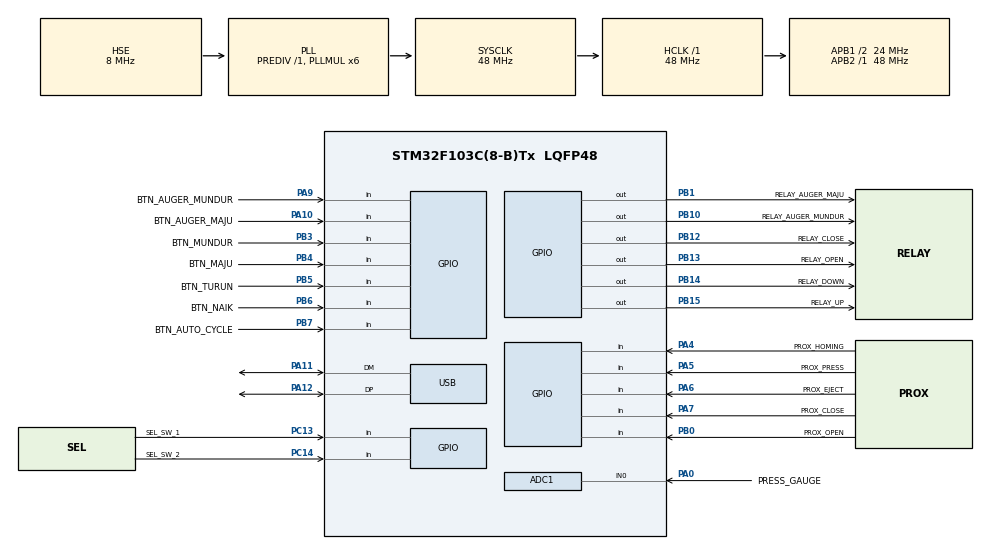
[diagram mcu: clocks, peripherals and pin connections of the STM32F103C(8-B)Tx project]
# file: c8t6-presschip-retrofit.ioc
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ADC1.Channel-0\#ChannelRegularConversion=ADC_CHANNEL_0
ADC1.ContinuousConvMode=ENABLE
ADC1.NbrOfConversion=1
ADC1.NbrOfConversionFlag=1
ADC1.Rank-0\#ChannelRegularConversion=1
ADC1.SamplingTime-0\#ChannelRegularConversion=ADC_SAMPLETIME_28CYCLES_5
ADC1.master=1
Dma.ADC1.0.Direction=DMA_PERIPH_TO_MEMORY
Dma.ADC1.0.Instance=DMA1_Channel1
Dma.ADC1.0.MemDataAlignment=DMA_MDATAALIGN_HALFWORD
Dma.ADC1.0.MemInc=DMA_MINC_ENABLE
Dma.ADC1.0.Mode=DMA_CIRCULAR
Dma.ADC1.0.PeriphDataAlignment=DMA_PDATAALIGN_HALFWORD
Dma.ADC1.0.PeriphInc=DMA_PINC_DISABLE
Dma.ADC1.0.Priority=DMA_PRIORITY_LOW
Dma.Request0=ADC1
Mcu.Family=STM32F1
Mcu.Name=STM32F103C(8-B)Tx
Mcu.Package=LQFP48
NVIC.DMA1_Channel1_IRQn=true\:0\:0\:false\:false\:true\:false\:true\:true
NVIC.PriorityGroup=NVIC_PRIORITYGROUP_4
NVIC.USB_LP_CAN1_RX0_IRQn=true\:0\:0\:false\:false\:true\:true\:true\:true
PA0-WKUP.GPIO_Label=PRESS_GAUGE
PA0-WKUP.Signal=ADCx_IN0
PA10.GPIO_Label=BTN_AUGER_MAJU
PA10.GPIO_PuPd=GPIO_PULLUP
PA10.Signal=GPIO_Input
PA11.Mode=Device
PA11.Signal=USB_DM
PA12.Mode=Device
PA12.Signal=USB_DP
PA13.Mode=Serial_Wire
PA13.Signal=SYS_JTMS-SWDIO
PA14.Mode=Serial_Wire
PA14.Signal=SYS_JTCK-SWCLK
PA4.GPIO_Label=PROX_HOMING
PA4.GPIO_PuPd=GPIO_PULLUP
PA4.Signal=GPIO_Input
PA5.GPIO_Label=PROX_PRESS
PA5.GPIO_PuPd=GPIO_PULLUP
PA5.Signal=GPIO_Input
PA6.GPIO_Label=PROX_EJECT
PA6.GPIO_PuPd=GPIO_PULLUP
PA6.Signal=GPIO_Input
PA7.GPIO_Label=PROX_CLOSE
PA7.GPIO_PuPd=GPIO_PULLUP
PA7.Signal=GPIO_Input
PA9.GPIO_Label=BTN_AUGER_MUNDUR
PA9.GPIO_PuPd=GPIO_PULLUP
PA9.Signal=GPIO_Input
PB0.GPIO_Label=PROX_OPEN
PB0.GPIO_PuPd=GPIO_PULLUP
PB0.Signal=GPIO_Input
PB1.GPIO_Label=RELAY_AUGER_MAJU
PB1.Signal=GPIO_Output
PB10.GPIO_Label=RELAY_AUGER_MUNDUR
PB10.Signal=GPIO_Output
PB12.GPIO_Label=RELAY_CLOSE
PB12.GPIO_PuPd=GPIO_PULLDOWN
PB12.Signal=GPIO_Output
PB13.GPIO_Label=RELAY_OPEN
PB13.GPIO_PuPd=GPIO_PULLDOWN
PB13.Signal=GPIO_Output
PB14.GPIO_Label=RELAY_DOWN
PB14.GPIO_PuPd=GPIO_PULLDOWN
PB14.Signal=GPIO_Output
PB15.GPIO_Label=RELAY_UP
PB15.GPIO_PuPd=GPIO_PULLDOWN
PB15.Signal=GPIO_Output
PB3.GPIO_Label=BTN_MUNDUR
PB3.GPIO_PuPd=GPIO_PULLUP
PB3.Signal=GPIO_Input
PB4.GPIO_Label=BTN_MAJU
PB4.GPIO_PuPd=GPIO_PULLUP
PB4.Signal=GPIO_Input
PB5.GPIO_Label=BTN_TURUN
PB5.GPIO_PuPd=GPIO_PULLUP
PB5.Signal=GPIO_Input
PB6.GPIO_Label=BTN_NAIK
PB6.GPIO_PuPd=GPIO_PULLUP
PB6.Signal=GPIO_Input
PB7.GPIO_Label=BTN_AUTO_CYCLE
PB7.GPIO_PuPd=GPIO_PULLUP
PB7.Signal=GPIO_Input
PC13-TAMPER-RTC.GPIO_Label=SEL_SW_1
PC13-TAMPER-RTC.GPIO_PuPd=GPIO_PULLUP
PC13-TAMPER-RTC.Signal=GPIO_Input
PC14-OSC32_IN.GPIO_Label=SEL_SW_2
PC14-OSC32_IN.GPIO_PuPd=GPIO_PULLUP
PC14-OSC32_IN.Signal=GPIO_Input
PD0-OSC_IN.Mode=HSE-External-Oscillator
PD0-OSC_IN.Signal=RCC_OSC_IN
PD1-OSC_OUT.Mode=HSE-External-Oscillator
PD1-OSC_OUT.Signal=RCC_OSC_OUT
ProjectManager.HeapSize=0x200
ProjectManager.StackSize=0x400
ProjectManager.TargetToolchain=STM32CubeIDE
RCC.ADCPresc=RCC_ADCPCLK2_DIV4
RCC.AHBFreq_Value=48000000
RCC.APB1CLKDivider=RCC_HCLK_DIV2
RCC.APB1Freq_Value=24000000
RCC.APB1TimFreq_Value=48000000
RCC.APB2Freq_Value=48000000
RCC.APB2TimFreq_Value=48000000
RCC.HCLKFreq_Value=48000000
RCC.PLLMUL=RCC_PLL_MUL6
RCC.SYSCLKFreq_VALUE=48000000
RCC.SYSCLKSource=RCC_SYSCLKSOURCE_PLLCLK
RCC.USBFreq_Value=48000000
SH.ADCx_IN0.0=ADC1_IN0,IN0
USB_DEVICE.CLASS_NAME_FS=CDC
USB_DEVICE.VirtualMode=Cdc
USB_DEVICE.VirtualModeFS=Cdc_FS
VP_USB_DEVICE_VS_USB_DEVICE_CDC_FS.Mode=CDC_FS
board=custom

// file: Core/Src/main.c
/* USER CODE BEGIN Header */
/**
  ******************************************************************************
  * @file           : main.c
  * @brief          : Main program body
  ******************************************************************************
  * @attention
  *
  * Copyright (c) 2025 STMicroelectronics.
  * All rights reserved.
  *
  * This software is licensed under terms that can be found in the LICENSE file
  * in the root directory of this software component.
  * If no LICENSE file comes with this software, it is provided AS-IS.
  *
  ******************************************************************************
  */
/* USER CODE END Header */
#include "main.h"
#include "usb_device.h"

/* USER CODE BEGIN Includes */
#include <string.h>
#include <stdio.h>
#include "usbd_cdc_if.h" // untuk CDC_Transmit_FS
/* USER CODE END Includes */

/* USER CODE BEGIN PTD */
typedef enum {
	STATE_EMERGENCY_STOP,
	    STATE_IDLE,
		STATE_HORIZ_CLOSE_FIRST,
	    STATE_HOMING,
	    STATE_VERT_PRESS_BY_GAUGE,
	    STATE_VERT_PRESS_BY_TIMER,
		STATE_AUGER_FILLING,
	    STATE_DELAY_MATERIAL_IN,
	    STATE_VERT_EJECT,
		STATE_UP_TO_PROX_VERT_MIDDLE,
		STATE_VERT_UP_BY_TIMER,
	    STATE_HORIZ_OPEN,
	    STATE_HORIZ_CLOSE,
//	    STATE_CYCLE_END_TO_HOME
} CycleState_t;
/* USER CODE END PTD */

ADC_HandleTypeDef hadc1;
DMA_HandleTypeDef hdma_adc1;

/* USER CODE BEGIN PV */
volatile CycleState_t CurrentState = STATE_IDLE;
volatile uint8_t auto_cycle_active = 0;   // 1 = Auto Cycle ON, 0 = Manual/Idle
// Parameter yang bisa diubah via USB VCP (Default 10 detik = 10000ms)
volatile uint32_t material_in_delay_ms = 10000;
volatile uint32_t delay_after_naik_ms = 1500;
volatile uint32_t delay_after_naik_timer_start = 0;

volatile uint32_t vert_up_timer_start = 0;
volatile uint32_t vert_up_duration_ms = 3000;

// Waktu mulai timer (menggunakan HAL_GetTick)
volatile uint32_t material_in_timer_start = 0;
// Variabel untuk Debounce & Latch Tombol Manual
uint8_t manual_btn_state[6] = {0}; // 0: Naik, 1: Turun, 2: Maju, 3: Mundur
const char* manual_action_names[] = {"NAIK", "TURUN", "MAJU", "MUNDUR"};

volatile uint16_t current_pressure_adc = 0; // Nilai ADC (0-4095)
volatile uint8_t auto_cycle_mode = 1;     // 1, 2, atau 3 (Dipilih oleh selector switch)
volatile uint8_t vert_press_counter = 0;  // Counter untuk siklus 2 & 3

// Timer untuk Press By Timer
volatile uint32_t press_by_timer_duration_ms = 4000; // Default 4 detik untuk press timer
volatile uint32_t press_by_timer_start = 0;

volatile uint32_t gauge_press_timer_start = 0;

volatile float target_pressure_bar = 150.0f;
volatile uint16_t target_pressure_adc = 2066;

volatile uint32_t state_timer_start = 0; //timer di setiap state
volatile uint32_t global_timeout_duration_ms = GLOBAL_STATE_TIMEOUT_MS;

// Buffer VCP untuk menerima data
uint8_t VCP_RxBuffer[MAX_VCP_RX_BUFFER_SIZE];
uint32_t VCP_RxLength = 0;
/* USER CODE END PV */

void SystemClock_Config(void);
static void MX_GPIO_Init(void);
static void MX_DMA_Init(void);
static void MX_ADC1_Init(void);
/* USER CODE BEGIN PFP */
void stop_all_actuators(void);
void vertikal_naik(void);
void vertikal_turun(void);
void horizontal_maju(void);
void horizontal_mundur(void);
void Handle_Manual_Mode(void);
void System_Run_Cycle(void);
void System_VCP_Process(void);
void Send_VCP_Message(char* message);
void remove_whitespace(char* s);
void auger_maju(void);
void auger_mundur(void);
void auger_stop(void);
uint8_t read_auto_cycle_mode(void);
uint16_t convert_bar_to_adc(float bar_val);
/* USER CODE END PFP */

int main(void)
{

  /* MCU Configuration--------------------------------------------------------*/

  /* Reset of all peripherals, Initializes the Flash interface and the Systick. */
  HAL_Init();

  /* Configure the system clock */
  SystemClock_Config();

  /* Initialize all configured peripherals */
  MX_GPIO_Init();
  MX_DMA_Init();
  MX_ADC1_Init();
  MX_USB_DEVICE_Init();
  /* USER CODE BEGIN 2 */

  __HAL_RCC_AFIO_CLK_ENABLE();
  __HAL_AFIO_REMAP_SWJ_NOJTAG();

  uint32_t saved_delay = *(volatile uint32_t*)FLASH_ADDRESS_DELAY;
  uint32_t saved_vert_up = *(volatile uint32_t*)FLASH_ADDRESS_VERT_UP;
  uint32_t saved_press_timer = *(volatile uint32_t*)FLASH_ADDRESS_PRESS_TIMER;
  uint32_t saved_global_timeout = *(volatile uint32_t*)FLASH_ADDRESS_TIMEOUT;
  uint32_t saved_target_bar = *(volatile uint32_t*)FLASH_ADDRESS_TARGET_BAR;

    // Cek jika nilai material_in_delay_ms valid
    if (saved_delay != 0xFFFFFFFF && saved_delay >= 500 && saved_delay <= 60000) {
        material_in_delay_ms = saved_delay;
    } else {
        material_in_delay_ms = 10000;
    }

    // Cek jika nilai vert_up_duration_ms valid
    if (saved_vert_up != 0xFFFFFFFF && saved_vert_up >= 500 && saved_vert_up <= 10000) {
        vert_up_duration_ms = saved_vert_up;
    } else {
        vert_up_duration_ms = 3000; // Default 3 detik
    }

    if (saved_press_timer != 0xFFFFFFFF && saved_press_timer >= 500 && saved_press_timer <= 10000) {
          press_by_timer_duration_ms = saved_press_timer;
      } else {
          press_by_timer_duration_ms = 5000; // Default 4 detik
      }

    if (saved_global_timeout != 0xFFFFFFFF && saved_global_timeout >= 5000 && saved_global_timeout <= 60000) {
        global_timeout_duration_ms = saved_global_timeout;
    } else {
        global_timeout_duration_ms = GLOBAL_STATE_TIMEOUT_MS;
    }

    if (saved_target_bar != 0xFFFFFFFF && saved_target_bar >= 50 && saved_target_bar <= 300) {
        target_pressure_bar = (float)saved_target_bar;
    } else {
        target_pressure_bar = 150.0f; // Default 150 Bar
    }

    target_pressure_adc = convert_bar_to_adc(target_pressure_bar);

    HAL_ADC_Start_DMA(&hadc1, (uint32_t*)&current_pressure_adc, 1);
  /* USER CODE END 2 */

  /* Infinite loop */
  /* USER CODE BEGIN WHILE */
  while (1)
  {
	  System_Run_Cycle();
	  System_VCP_Process();
	  HAL_Delay(10);
    /* USER CODE END WHILE */

  }
}

void SystemClock_Config(void)
{
  RCC_OscInitTypeDef RCC_OscInitStruct = {0};
  RCC_ClkInitTypeDef RCC_ClkInitStruct = {0};
  RCC_PeriphCLKInitTypeDef PeriphClkInit = {0};

  /** Initializes the RCC Oscillators according to the specified parameters
  * in the RCC_OscInitTypeDef structure.
  */
  RCC_OscInitStruct.OscillatorType = RCC_OSCILLATORTYPE_HSE;
  RCC_OscInitStruct.HSEState = RCC_HSE_ON;
  RCC_OscInitStruct.HSEPredivValue = RCC_HSE_PREDIV_DIV1;
  RCC_OscInitStruct.HSIState = RCC_HSI_ON;
  RCC_OscInitStruct.PLL.PLLState = RCC_PLL_ON;
  RCC_OscInitStruct.PLL.PLLSource = RCC_PLLSOURCE_HSE;
  RCC_OscInitStruct.PLL.PLLMUL = RCC_PLL_MUL6;
  if (HAL_RCC_OscConfig(&RCC_OscInitStruct) != HAL_OK)
  {
    Error_Handler();
  }

  /** Initializes the CPU, AHB and APB buses clocks
  */
  RCC_ClkInitStruct.ClockType = RCC_CLOCKTYPE_HCLK|RCC_CLOCKTYPE_SYSCLK
                              |RCC_CLOCKTYPE_PCLK1|RCC_CLOCKTYPE_PCLK2;
  RCC_ClkInitStruct.SYSCLKSource = RCC_SYSCLKSOURCE_PLLCLK;
  RCC_ClkInitStruct.AHBCLKDivider = RCC_SYSCLK_DIV1;
  RCC_ClkInitStruct.APB1CLKDivider = RCC_HCLK_DIV2;
  RCC_ClkInitStruct.APB2CLKDivider = RCC_HCLK_DIV1;

  if (HAL_RCC_ClockConfig(&RCC_ClkInitStruct, FLASH_LATENCY_1) != HAL_OK)
  {
    Error_Handler();
  }
  PeriphClkInit.PeriphClockSelection = RCC_PERIPHCLK_ADC|RCC_PERIPHCLK_USB;
  PeriphClkInit.AdcClockSelection = RCC_ADCPCLK2_DIV4;
  PeriphClkInit.UsbClockSelection = RCC_USBCLKSOURCE_PLL;
  if (HAL_RCCEx_PeriphCLKConfig(&PeriphClkInit) != HAL_OK)
  {
    Error_Handler();
  }
}

static void MX_ADC1_Init(void)
{

  ADC_ChannelConfTypeDef sConfig = {0};

  /** Common config
  */
  hadc1.Instance = ADC1;
  hadc1.Init.ScanConvMode = ADC_SCAN_DISABLE;
  hadc1.Init.ContinuousConvMode = ENABLE;
  hadc1.Init.DiscontinuousConvMode = DISABLE;
  hadc1.Init.ExternalTrigConv = ADC_SOFTWARE_START;
  hadc1.Init.DataAlign = ADC_DATAALIGN_RIGHT;
  hadc1.Init.NbrOfConversion = 1;
  if (HAL_ADC_Init(&hadc1) != HAL_OK)
  {
    Error_Handler();
  }

  /** Configure Regular Channel
  */
  sConfig.Channel = ADC_CHANNEL_0;
  sConfig.Rank = ADC_REGULAR_RANK_1;
  sConfig.SamplingTime = ADC_SAMPLETIME_28CYCLES_5;
  if (HAL_ADC_ConfigChannel(&hadc1, &sConfig) != HAL_OK)
  {
    Error_Handler();
  }

}

static void MX_DMA_Init(void)
{

  /* DMA controller clock enable */
  __HAL_RCC_DMA1_CLK_ENABLE();

  /* DMA interrupt init */
  /* DMA1_Channel1_IRQn interrupt configuration */
  HAL_NVIC_SetPriority(DMA1_Channel1_IRQn, 0, 0);
//  HAL_NVIC_EnableIRQ(DMA1_Channel1_IRQn);

}

static void MX_GPIO_Init(void)
{
  GPIO_InitTypeDef GPIO_InitStruct = {0};

  /* GPIO Ports Clock Enable */
  __HAL_RCC_GPIOC_CLK_ENABLE();
  __HAL_RCC_GPIOD_CLK_ENABLE();
  __HAL_RCC_GPIOA_CLK_ENABLE();
  __HAL_RCC_GPIOB_CLK_ENABLE();

  /*Configure GPIO pin Output Level */
  HAL_GPIO_WritePin(GPIOB, RELAY_AUGER_MAJU_Pin|RELAY_AUGER_MUNDUR_Pin|RELAY_CLOSE_Pin|RELAY_OPEN_Pin
                          |RELAY_DOWN_Pin|RELAY_UP_Pin, GPIO_PIN_RESET);

  /*Configure GPIO pins : SEL_SW_1_Pin SEL_SW_2_Pin */
  GPIO_InitStruct.Pin = SEL_SW_1_Pin|SEL_SW_2_Pin;
  GPIO_InitStruct.Mode = GPIO_MODE_INPUT;
  GPIO_InitStruct.Pull = GPIO_PULLUP;
  HAL_GPIO_Init(GPIOC, &GPIO_InitStruct);

  /*Configure GPIO pins : PROX_HOMING_Pin PROX_PRESS_Pin PROX_EJECT_Pin PROX_CLOSE_Pin
                           BTN_AUGER_MUNDUR_Pin BTN_AUGER_MAJU_Pin */
  GPIO_InitStruct.Pin = PROX_HOMING_Pin|PROX_PRESS_Pin|PROX_EJECT_Pin|PROX_CLOSE_Pin
                          |BTN_AUGER_MUNDUR_Pin|BTN_AUGER_MAJU_Pin;
  GPIO_InitStruct.Mode = GPIO_MODE_INPUT;
  GPIO_InitStruct.Pull = GPIO_PULLUP;
  HAL_GPIO_Init(GPIOA, &GPIO_InitStruct);

  /*Configure GPIO pins : PROX_OPEN_Pin BTN_MUNDUR_Pin BTN_MAJU_Pin BTN_TURUN_Pin
                           BTN_NAIK_Pin BTN_AUTO_CYCLE_Pin */
  GPIO_InitStruct.Pin = PROX_OPEN_Pin|BTN_MUNDUR_Pin|BTN_MAJU_Pin|BTN_TURUN_Pin
                          |BTN_NAIK_Pin|BTN_AUTO_CYCLE_Pin;
  GPIO_InitStruct.Mode = GPIO_MODE_INPUT;
  GPIO_InitStruct.Pull = GPIO_PULLUP;
  HAL_GPIO_Init(GPIOB, &GPIO_InitStruct);

  /*Configure GPIO pins : RELAY_AUGER_MAJU_Pin RELAY_AUGER_MUNDUR_Pin */
  GPIO_InitStruct.Pin = RELAY_AUGER_MAJU_Pin|RELAY_AUGER_MUNDUR_Pin;
  GPIO_InitStruct.Mode = GPIO_MODE_OUTPUT_PP;
  GPIO_InitStruct.Pull = GPIO_NOPULL;
  GPIO_InitStruct.Speed = GPIO_SPEED_FREQ_LOW;
  HAL_GPIO_Init(GPIOB, &GPIO_InitStruct);

  /*Configure GPIO pins : RELAY_CLOSE_Pin RELAY_OPEN_Pin RELAY_DOWN_Pin RELAY_UP_Pin */
  GPIO_InitStruct.Pin = RELAY_CLOSE_Pin|RELAY_OPEN_Pin|RELAY_DOWN_Pin|RELAY_UP_Pin;
  GPIO_InitStruct.Mode = GPIO_MODE_OUTPUT_PP;
  GPIO_InitStruct.Pull = GPIO_PULLDOWN;
  GPIO_InitStruct.Speed = GPIO_SPEED_FREQ_LOW;
  HAL_GPIO_Init(GPIOB, &GPIO_InitStruct);

}

/* USER CODE BEGIN 4 */
/**
 * @brief Mematikan semua aktuator (Relay OFF).
 */
void stop_all_actuators(void) {
    // ACTUATOR_OFF (GPIO_PIN_RESET) untuk mematikan relay
    HAL_GPIO_WritePin(RELAY_DOWN_GPIO_Port, RELAY_DOWN_Pin, ACTUATOR_OFF);
    HAL_GPIO_WritePin(RELAY_UP_GPIO_Port, RELAY_UP_Pin, ACTUATOR_OFF);
    HAL_GPIO_WritePin(RELAY_CLOSE_GPIO_Port, RELAY_CLOSE_Pin, ACTUATOR_OFF);
    HAL_GPIO_WritePin(RELAY_OPEN_GPIO_Port, RELAY_OPEN_Pin, ACTUATOR_OFF);
    auger_stop();
}

void vertikal_naik(void) {
    stop_all_actuators();
    HAL_GPIO_WritePin(RELAY_UP_GPIO_Port, RELAY_UP_Pin, ACTUATOR_ON);
}

void vertikal_turun(void) {
    stop_all_actuators();
    HAL_GPIO_WritePin(RELAY_DOWN_GPIO_Port, RELAY_DOWN_Pin, ACTUATOR_ON);

}

void horizontal_maju(void) { // Menutup Pembuangan
    stop_all_actuators();
    HAL_GPIO_WritePin(RELAY_CLOSE_GPIO_Port, RELAY_CLOSE_Pin, ACTUATOR_ON);

}

void horizontal_mundur(void) { // Membuka Pembuangan
    stop_all_actuators();
    HAL_GPIO_WritePin(RELAY_OPEN_GPIO_Port, RELAY_OPEN_Pin, ACTUATOR_ON);
}

void auger_maju(void) {
    HAL_GPIO_WritePin(RELAY_AUGER_MAJU_GPIO_Port, RELAY_AUGER_MAJU_Pin, GPIO_PIN_SET);
    HAL_GPIO_WritePin(RELAY_AUGER_MUNDUR_GPIO_Port, RELAY_AUGER_MUNDUR_Pin, GPIO_PIN_RESET);
}

void auger_mundur(void) {
    HAL_GPIO_WritePin(RELAY_AUGER_MAJU_GPIO_Port, RELAY_AUGER_MAJU_Pin, GPIO_PIN_RESET);
    HAL_GPIO_WritePin(RELAY_AUGER_MUNDUR_GPIO_Port, RELAY_AUGER_MUNDUR_Pin, GPIO_PIN_SET);
}

void auger_stop(void) {
    HAL_GPIO_WritePin(RELAY_AUGER_MAJU_GPIO_Port, RELAY_AUGER_MAJU_Pin, GPIO_PIN_RESET);
    HAL_GPIO_WritePin(RELAY_AUGER_MUNDUR_GPIO_Port, RELAY_AUGER_MUNDUR_Pin, GPIO_PIN_RESET);
}

uint8_t read_auto_cycle_mode(void) {
    // Selector switch di Pull-Up, jadi yang LOW adalah yang terpilih.
    if (HAL_GPIO_ReadPin(SEL_SW_1_GPIO_Port, SEL_SW_1_Pin) == GPIO_PIN_RESET && HAL_GPIO_ReadPin(SEL_SW_2_GPIO_Port, SEL_SW_2_Pin) == GPIO_PIN_SET) {
        return 1; // Siklus 1
    } else if (HAL_GPIO_ReadPin(SEL_SW_1_GPIO_Port, SEL_SW_1_Pin) == GPIO_PIN_SET && HAL_GPIO_ReadPin(SEL_SW_2_GPIO_Port, SEL_SW_2_Pin) == GPIO_PIN_SET) {
        return 2; // Siklus 2
    } else if (HAL_GPIO_ReadPin(SEL_SW_1_GPIO_Port, SEL_SW_1_Pin) == GPIO_PIN_SET && HAL_GPIO_ReadPin(SEL_SW_2_GPIO_Port, SEL_SW_2_Pin) == GPIO_PIN_RESET) {
        return 3; // Siklus 3
    }

    //DEFAULT menggunkaan siklus 1
    return 1;
}

/**
 * @brief Mengkonversi nilai Bar ke nilai ADC mentah (untuk threshold kontrol).
 * * Target: 0 Bar -> 410 ADC, 300 Bar -> 3723 ADC.
 */
uint16_t convert_bar_to_adc(float bar_val) {
    // ADC_MIN_ACTUAL: 410.0f, ADC_MAX_ACTUAL: 3723.0f, PRESSURE_MAX_RANGE: 300.0f

    //nilai slope
    const float SLOPE = (3723.0f - 410.0f) / 300.0f;

    //nilai intercept
    const float INTERCEPT_ADC = 410.0f;

    // Persamaan liniear: ADC = SLOPE * Bar + INTERCEPT_ADC
    float adc_val_float = (SLOPE * bar_val) + INTERCEPT_ADC;

    if (adc_val_float > 4095.0f) return 4095;
    if (adc_val_float < 0.0f) return 0;

    return (uint16_t)adc_val_float;
}

/**
 * @brief Menghapus karakter whitespace (termasuk \r, \n, spasi) dari akhir string.
 */
void remove_whitespace(char *s) {
    int len = strlen(s);
    // Hapus karakter whitespace dari belakang
    while (len > 0 && (s[len-1] == '\r' || s[len-1] == '\n' || s[len-1] == ' ')) {
        s[len-1] = '\0';
        len--;
    }
}

/**
 * @brief Mengirim pesan string melalui USB VCP
 */
void Send_VCP_Message(char* message) {
    uint16_t len = strlen(message);
    // Tambahkan karakter baris baru untuk memudahkan pembacaan di terminal
    char final_message[len + 3];
    sprintf(final_message, "%s\r\n", message);
    CDC_Transmit_FS((uint8_t*)final_message, strlen(final_message));
}

/**
 * @brief Memproses perintah VCP yang diterima
 */
void System_VCP_Process(void) {
    if (VCP_RxLength == 0) return;

    // Pastikan string diakhiri null
    if (VCP_RxLength < MAX_VCP_RX_BUFFER_SIZE) {
        VCP_RxBuffer[VCP_RxLength] = '\0';
    } else {
        VCP_RxBuffer[MAX_VCP_RX_BUFFER_SIZE - 1] = '\0';
    }

    char response[150];
    char* cmd = (char*)VCP_RxBuffer;

    // Bersihin string dari whitespace
    remove_whitespace(cmd);

   // Proses perintah
    if (strncmp(cmd, "$DMI:", 9) == 0) {
            long new_delay = atol(cmd + 9);
            if (new_delay >= 500 && new_delay <= 60000) {

                material_in_delay_ms = (uint32_t)new_delay; // Update RAM

                // Panggil fungsi SAVE ALL
                if (Flash_Save_All_Parameters() == HAL_OK) {
                    sprintf(response, "OK: DELAY disetel & DISIMPAN ke %lu ms", material_in_delay_ms);
                } else {
                    sprintf(response, "ERROR: Gagal menyimpan ke Flash.");
                }
            } else {
                sprintf(response, "ERROR: Delay tidak valid (500-60000 ms).");
            }
            Send_VCP_Message(response);

        } else if (strncmp(cmd, "$VUD:", 8) == 0) {
                long new_duration = atol(cmd + 8);
                if (new_duration >= 500 && new_duration <= 10000) {

                    vert_up_duration_ms = (uint32_t)new_duration; // Update RAM

                    // Panggil fungsi SAVE ALL
                    if (Flash_Save_All_Parameters() == HAL_OK) {
                        sprintf(response, "OK: Vertikal Up Duration disetel & DISIMPAN ke %lu ms", vert_up_duration_ms);
                    } else {
                        sprintf(response, "ERROR: Gagal menyimpan Press Up Duration ke Flash.");
                    }
                } else {
                    sprintf(response, "ERROR: Vert Up Duration tidak valid (500-10000 ms).");
                }
                Send_VCP_Message(response);
        } else if (strncmp(cmd, "$PTD:", 5) == 0) {
                    long new_duration = atol(cmd + 5);
                    if (new_duration >= 500 && new_duration <= 10000) {

                        press_by_timer_duration_ms = (uint32_t)new_duration; // Update RAM

                        if (Flash_Save_All_Parameters() == HAL_OK) {
                            sprintf(response, "OK: Press Timer Duration disetel & DISIMPAN ke %lu ms", press_by_timer_duration_ms);
                        } else {
                            sprintf(response, "ERROR: Gagal menyimpan Press Timer Duration ke Flash.");
                        }
                    } else {
                        sprintf(response, "ERROR: Press Timer Duration tidak valid (500-10000 ms).");
                    }
                    Send_VCP_Message(response);

        } else if (strncmp(cmd, "$GTO:", 5) == 0) {
            long new_duration = atol(cmd + 5);
            if (new_duration >= 5000 && new_duration <= 60000) { // Batas 5s - 60s

                global_timeout_duration_ms = (uint32_t)new_duration; // Update RAM

                if (Flash_Save_All_Parameters() == HAL_OK) {
                    sprintf(response, "OK: Global Timeout disetel & DISIMPAN ke %lu ms", global_timeout_duration_ms);
                } else {
                    sprintf(response, "ERROR: Gagal menyimpan Global Timeout ke Flash.");
                }
            } else {
                sprintf(response, "ERROR: Global Timeout tidak valid (5000-60000 ms).");
            }
            Send_VCP_Message(response);

    } else if (strncmp(cmd, "$PTB:", 5) == 0) {
        float new_target = atof(cmd + 5); // atof untuk float

        // minimal 50 bar, maksimal 300 bar
        if (new_target >= 50.0f && new_target <= 300.0f) {

            target_pressure_bar = new_target; // Update RAM (Bar)

            // HITUNG NILAI ADC BARU SECARA OTOMATIS
            target_pressure_adc = convert_bar_to_adc(new_target);//konversi bar ke adc

            if (Flash_Save_All_Parameters() == HAL_OK) {
                sprintf(response, "OK: Target Press disetel & DISIMPAN ke %.1f Bar (%d ADC)", target_pressure_bar, target_pressure_adc);
            } else {
                sprintf(response, "ERROR: Gagal menyimpan Target Bar ke Flash.");
            }
        } else {
            sprintf(response, "ERROR: Target Bar tidak valid (50-300 Bar).");
        }
        Send_VCP_Message(response);

    } else if (strcmp(cmd, "GETSTATUS") == 0) {
		char state_str[35];

		switch (CurrentState) {
			case STATE_IDLE: strcpy(state_str, "IDLE"); break;
			case STATE_HOMING: strcpy(state_str, "HOMING"); break;
			case STATE_DELAY_MATERIAL_IN: strcpy(state_str, "DELAY, MATERIAL IN"); break;
			case STATE_VERT_PRESS_BY_GAUGE: strcpy(state_str, "VERT_PRESS_GAUGE"); break;
			case STATE_VERT_PRESS_BY_TIMER:strcpy(state_str, "VERT_PRESS_TIMER");break;
			case STATE_VERT_UP_BY_TIMER: strcpy(state_str, "VERT UP BY TIMER"); break;
			case STATE_HORIZ_OPEN: strcpy(state_str, "HORIZ_OPEN"); break;
			case STATE_VERT_EJECT: strcpy(state_str, "VERT_EJECT"); break;
			case STATE_UP_TO_PROX_VERT_MIDDLE: strcpy(state_str, "NAIK TO PROX_VERT_MIDDLE"); break;
			case STATE_HORIZ_CLOSE: strcpy(state_str, "HORIZ_CLOSE"); break;
			case STATE_EMERGENCY_STOP: strcpy(state_str, "E-STOP"); break;
			default: strcpy(state_str, "UNKNOWN"); break;
	}

        float pressure_bar = ((float)current_pressure_adc - PRESS_MIN_ADC) * (PRESS_TARGET_BAR / (PRESS_MAX_ADC - PRESS_MIN_ADC));
		if (pressure_bar < 0) pressure_bar = 0.0f;
		if(pressure_bar > 300) pressure_bar = 300.0f;

        uint8_t prox_vert_homing = HAL_GPIO_ReadPin(PROX_HOMING_GPIO_Port, PROX_HOMING_Pin) == PROXY_AKTIF;
        uint8_t prox_vert_middle = HAL_GPIO_ReadPin(PROX_PRESS_GPIO_Port, PROX_PRESS_Pin) == PROXY_AKTIF;
        uint8_t prox_vert_eject = HAL_GPIO_ReadPin(PROX_EJECT_GPIO_Port, PROX_EJECT_Pin) == PROXY_AKTIF;
        uint8_t prox_horiz_close = HAL_GPIO_ReadPin(PROX_CLOSE_GPIO_Port, PROX_CLOSE_Pin) == PROXY_AKTIF;
        uint8_t prox_horiz_open = HAL_GPIO_ReadPin(PROX_OPEN_GPIO_Port, PROX_OPEN_Pin) == PROXY_AKTIF;

        sprintf(response, "STATUS: %s | Auto:%d Mode Siklus: %d | Press: %.1f Bar | Delay:%lu ms | Proxies: H:%d M:%d E:%d C:%d O:%d",
                        state_str, auto_cycle_active, auto_cycle_mode, pressure_bar, material_in_delay_ms, prox_vert_homing, prox_vert_middle, prox_vert_eject, prox_horiz_close, prox_horiz_open);
		Send_VCP_Message(response);
    } else {
        sprintf(response, "ERROR: Perintah '%s' tidak dikenal.", cmd);
        Send_VCP_Message(response);
    }

    // Reset buffer
    VCP_RxLength = 0;
}

/**
 * @brief Menangani pergerakan silinder secara manual.
 */
void Handle_Manual_Mode(void) {
    // Pin LOW = Ditekan (Proxy/Button aktif)
    uint8_t btn_turun  = (HAL_GPIO_ReadPin(BTN_TURUN_GPIO_Port, BTN_TURUN_Pin) == GPIO_PIN_RESET);
    uint8_t btn_naik   = (HAL_GPIO_ReadPin(BTN_NAIK_GPIO_Port, BTN_NAIK_Pin) == GPIO_PIN_RESET);
    uint8_t btn_mundur = (HAL_GPIO_ReadPin(BTN_MUNDUR_GPIO_Port, BTN_MUNDUR_Pin) == GPIO_PIN_RESET);
    uint8_t btn_maju   = (HAL_GPIO_ReadPin(BTN_MAJU_GPIO_Port, BTN_MAJU_Pin) == GPIO_PIN_RESET);
    uint8_t btn_auger_maju   = (HAL_GPIO_ReadPin(BTN_AUGER_MAJU_GPIO_Port, BTN_AUGER_MAJU_Pin) == GPIO_PIN_RESET);
    uint8_t btn_auger_mundur = (HAL_GPIO_ReadPin(BTN_AUGER_MUNDUR_GPIO_Port, BTN_AUGER_MUNDUR_Pin) == GPIO_PIN_RESET);

    // Safety: Prioritas Tombol Berlawanan
    if ((btn_maju && btn_mundur) || (btn_naik && btn_turun) || (btn_auger_maju && btn_auger_mundur)) {
        stop_all_actuators();
        return;
    }

    // Eksekusi Gerakan
    if (btn_naik) {
        vertikal_naik();
        if (manual_btn_state[0] == 0) {
            Send_VCP_Message("MANUAL: Vertikal NAIK (Aktif)");
            manual_btn_state[0] = 1;
        }
    } else if (btn_turun) {
        vertikal_turun();
        if (manual_btn_state[1] == 0) {
            Send_VCP_Message("MANUAL: Vertikal TURUN (Aktif)");
            manual_btn_state[1] = 1;
        }
    } else if (btn_maju) {
        horizontal_maju();
        if (manual_btn_state[2] == 0) {
            Send_VCP_Message("MANUAL: Horizontal MAJU (Tutup) (Aktif)");
            manual_btn_state[2] = 1;
        }
    } else if (btn_mundur) {
        horizontal_mundur();
        if (manual_btn_state[3] == 0) {
            Send_VCP_Message("MANUAL: Horizontal MUNDUR (Buka) (Aktif)");
            manual_btn_state[3] = 1;
        }
    } else if (btn_auger_maju) {
        auger_maju();
        if (manual_btn_state[4] == 0) {
            Send_VCP_Message("MANUAL: Auger MAJU (Aktif)");
            manual_btn_state[4] = 1;
        }
    } else if (btn_auger_mundur) {
        auger_mundur();
        if (manual_btn_state[5] == 0) {
            Send_VCP_Message("MANUAL: Auger MUNDUR (Aktif)");
            manual_btn_state[5] = 1;
        }
    } else {
        // Jika TIDAK ADA tombol yang ditekan, baru matikan semua
        stop_all_actuators();

        // Kirim pesan stop hanya jika sebelumnya ada tombol yang aktif
        if (manual_btn_state[0] || manual_btn_state[1] || manual_btn_state[2] ||
            manual_btn_state[3] || manual_btn_state[4] || manual_btn_state[5]) {
            Send_VCP_Message("MANUAL: Semua gerakan dihentikan.");
        }

        // Reset semua state saat tidak ada tombol ditekan
        for(int i=0; i<6; i++) manual_btn_state[i] = 0;
    }
}

/**
 * @brief Logika utama State Machine untuk siklus otomatis.
 */
void System_Run_Cycle(void) {
    // Baca status Proximity Sensor (PROXY_AKTIF = LOW/0)
    uint8_t prox_vert_homing = HAL_GPIO_ReadPin(PROX_HOMING_GPIO_Port, PROX_HOMING_Pin);
    uint8_t prox_vert_middle = HAL_GPIO_ReadPin(PROX_PRESS_GPIO_Port, PROX_PRESS_Pin);
    uint8_t prox_vert_eject = HAL_GPIO_ReadPin(PROX_EJECT_GPIO_Port, PROX_EJECT_Pin);
    uint8_t prox_horiz_close = HAL_GPIO_ReadPin(PROX_CLOSE_GPIO_Port, PROX_CLOSE_Pin);
    uint8_t prox_horiz_open = HAL_GPIO_ReadPin(PROX_OPEN_GPIO_Port, PROX_OPEN_Pin);

    // Tombol Auto Cycle (Latching) - Pin LOW = Ditekan/ON
    uint8_t btn_auto = (HAL_GPIO_ReadPin(BTN_AUTO_CYCLE_GPIO_Port, BTN_AUTO_CYCLE_Pin) == GPIO_PIN_RESET);

    // Cek Safety/Error Handler - Prioritas tertinggi
#if TEST_MODE == 0
    if ((prox_vert_homing == PROXY_AKTIF && prox_vert_middle == PROXY_AKTIF) || (prox_vert_middle == PROXY_INAKTIF && prox_vert_eject == PROXY_INAKTIF)) {
        CurrentState = STATE_EMERGENCY_STOP;
        Send_VCP_Message("CRITICAL ERROR: Sensor Vertikal Tidak Konsisten!");
    }
    //logika sensor prox_vert_middle dibalik, jika PROXY_AKTIF (berarti aktualnya off), jika PROXY_INAKTIF (aktual nya aktif)
    // Jika waktu press melebihi batas aman (misal 2x delay)
    if (CurrentState == STATE_DELAY_MATERIAL_IN && (HAL_GetTick() - material_in_timer_start) > (material_in_delay_ms * 2)) {
         CurrentState = STATE_EMERGENCY_STOP;
         Send_VCP_Message("CRITICAL ERROR: Waktu Press Melebihi Batas Aman!");
    }

    if (prox_horiz_close == PROXY_AKTIF && prox_horiz_open == PROXY_AKTIF){
    	CurrentState = STATE_EMERGENCY_STOP; //kondisi ketika kedua sensor untuk buka/tutup pembuangan sama-sama aktif, langsung emergency
    	Send_VCP_Message("CRITICAL ERROR: Sensor Horizontal(buka dan tutup pembuangan) sama-sama AKTIF!");
    }

#endif

    //Transisi Mode (Auto ON/OFF)
    if (btn_auto) {
            if (auto_cycle_active == 0) {
                auto_cycle_mode = read_auto_cycle_mode();
                vert_press_counter = 0; //reset counter
                auto_cycle_active = 1;
                CurrentState = STATE_HORIZ_CLOSE_FIRST; // Selalu mulai dari m
                char msg_buffer[100];
                sprintf(msg_buffer, "AUTO CYCLE ON. Mode: %d. Menutup pintu pembuangan awal sebelum Homing.", auto_cycle_mode);
                Send_VCP_Message(msg_buffer);
            }
	} else {
        if (auto_cycle_active == 1) {
            auto_cycle_active = 0;
            CurrentState = STATE_IDLE; // Kembali ke IDLE/MANUAL
            stop_all_actuators();
            Send_VCP_Message("AUTO CYCLE OFF. Kembali ke Manual Mode.");
        }
    }

    //GLOBAL STATE TIMEOUT
    if (auto_cycle_active) {
        if (state_timer_start == 0) {
            // Inisialisasi saat pertama kali masuk auto mode
            state_timer_start = HAL_GetTick();
        } else if (HAL_GetTick() - state_timer_start > global_timeout_duration_ms) {
            // TIMEOUT GLOBAL! Pindah ke EMERGENCY STOP
            CurrentState = STATE_EMERGENCY_STOP;
            state_timer_start = 0; // Reset
            char msg_buffer_timeout[85];
			sprintf(msg_buffer_timeout, "CRITICAL ERROR: GLOBAL STATE TIMEOUT! Siklus terjebak selama %lu ms.", global_timeout_duration_ms);
			Send_VCP_Message(msg_buffer_timeout);
        }
    } else {
        // Reset timer saat dalam mode IDLE/Manual
        state_timer_start = 0;
    }

    //logika state mesin
        switch (CurrentState) {
            case STATE_EMERGENCY_STOP:
                stop_all_actuators();
                break;

            case STATE_IDLE:
                stop_all_actuators();
                // Mode manual cuman boleh saat sedang di state IDLE
                Handle_Manual_Mode();
                break;

            // 1. Menutup pembuangan hingga proxy close terdeteksi di awal siklus
            case STATE_HORIZ_CLOSE_FIRST:
                if (!auto_cycle_active) break;
                horizontal_maju(); // Gerakkan pintu tertutup

                if (prox_horiz_close == PROXY_AKTIF && prox_horiz_open == PROXY_INAKTIF) {
                    CurrentState = STATE_HOMING;
                    stop_all_actuators();
                    Send_VCP_Message("Pintu Tertutup. Memulai Homing piston vertikal.");
                    state_timer_start = HAL_GetTick();
                }
                break;

            // 2. Homing hingga proxy homing terdeteksi
            case STATE_HOMING:
                if (!auto_cycle_active) break;
                vertikal_naik(); // Hanya fokus naik, pembuangan sudah diurus di awal

                // Cek jika semua sensor vertikal sudah nyala atau belum
                //Note: khusus logika prox_vert_middle, logikanya terbalik, PROXY_INAKTIF -> SENSOR ON
                if (prox_vert_homing == PROXY_AKTIF && prox_vert_middle == PROXY_INAKTIF && prox_vert_eject == PROXY_INAKTIF) {
                    vert_press_counter++;
                    CurrentState = STATE_AUGER_FILLING;
                    stop_all_actuators();
                    auger_maju(); // 3. Jalankan motor pengisi
                    material_in_timer_start = HAL_GetTick(); // Mulai hitung waktu pengisian
                    Send_VCP_Message("Homing Selesai. Auger mengisi chip...");
                }
                break;

            case STATE_AUGER_FILLING:
                if (!auto_cycle_active) { auger_stop(); break; }

                // Jika waktu pengisian (DMI) sudah tercapai
                if (HAL_GetTick() - material_in_timer_start >= material_in_delay_ms) {
                    auger_stop(); // Matikan auger

                    uint8_t total_press_count = auto_cycle_mode;
                    if (vert_press_counter < total_press_count) {
                        CurrentState = STATE_VERT_PRESS_BY_TIMER;
                        press_by_timer_start = HAL_GetTick();
                    } else {
                        CurrentState = STATE_VERT_PRESS_BY_GAUGE;

                        // >>> TAMBAHKAN BARIS INI <<<
                        gauge_press_timer_start = HAL_GetTick();
                    }
                    Send_VCP_Message("Pengisian Chip Selesai. Memulai Press.");
                }
                break;

            case STATE_DELAY_MATERIAL_IN:
    			if (!auto_cycle_active) break;
    			// Cek waktu
    			if (HAL_GetTick() - material_in_timer_start >= material_in_delay_ms) {

    				uint8_t total_press_count = auto_cycle_mode;

    				if (vert_press_counter < total_press_count){
    					//hanya untuk mode siklus 2 dan siklus 3
    					CurrentState = STATE_VERT_PRESS_BY_TIMER;
    					press_by_timer_start = HAL_GetTick();
    					char msg_buffer_2[70];
    					sprintf(msg_buffer_2, "Jeda Selesai. Menuju press by TIMER. (#%d)", vert_press_counter);
    					Send_VCP_Message(msg_buffer_2);

    				} else if (vert_press_counter  == total_press_count){
    					//Siklus 1 (1/1), Siklus 2 (2/2), Siklus 3 (3/3) : pake sensor gauge
    					CurrentState = STATE_VERT_PRESS_BY_GAUGE;
    					Send_VCP_Message("Jeda selesai. Menuju Press by GAUGE (Final Press).");
    				} else {
    					//kalo counter kelebihan
    					CurrentState = STATE_EMERGENCY_STOP;
    					Send_VCP_Message("CRITICAL ERROR: Counter Press Kelebihan");
    				}
    			}
    			break;

            case STATE_VERT_PRESS_BY_GAUGE:
                if (!auto_cycle_active) break;

                // >>> HAPUS BLOK IF (CurrentState != ...) INI KARENA SUDAH TIDAK PERLU <<<

                vertikal_turun();

                if (HAL_GetTick() - gauge_press_timer_start > PRESS_GAUGE_TIMEOUT_MS) {
                    CurrentState = STATE_EMERGENCY_STOP;
                    gauge_press_timer_start = 0; // Reset timer
                    Send_VCP_Message("CRITICAL ERROR: PRESS GAUGE TIMEOUT! Gagal mencapai target Bar dalam 30s.");
                    break;
                }

                //cek apakah tekanan target tercapai
                if (current_pressure_adc >= target_pressure_adc) {
                    CurrentState = STATE_VERT_UP_BY_TIMER;
                    stop_all_actuators();
                    Send_VCP_Message("PRESS GAUGE SELESAI: Target Bar tercapai. Naik By Timer");
                    vert_up_timer_start = HAL_GetTick();
                    gauge_press_timer_start = 0; // >>> OPSIONAL: Tambahkan ini untuk keamanan ekstra <<<
                }
                break;

            case STATE_VERT_PRESS_BY_TIMER:
            	if(!auto_cycle_active) break;
            	vertikal_turun();

            	if(HAL_GetTick() - press_by_timer_start >= press_by_timer_duration_ms){
            		//press by timer selesai. kembali homing untuk press selanjutnya
            		CurrentState = STATE_HOMING;
            		stop_all_actuators();
            		Send_VCP_Message("PRESS BY TIMER selesai. Kembali Homing untuk siklus press selanjutnya");
            		state_timer_start = HAL_GetTick();
            	}
            	break;

            case STATE_VERT_UP_BY_TIMER:
            	if(!auto_cycle_active) break;

            	vertikal_naik();

            	if (HAL_GetTick() - vert_up_timer_start >= vert_up_duration_ms){
            		CurrentState = STATE_HORIZ_OPEN;
            		stop_all_actuators();
            		Send_VCP_Message("Silinder vertikal naik sementara selesai. Menuju membuka pembuangan");
            		state_timer_start = HAL_GetTick();
            	}
            	break;

            case STATE_HORIZ_OPEN:
    			if (!auto_cycle_active) break;
    				horizontal_mundur(); // Buka Pembuangan

    			if (prox_horiz_close == PROXY_INAKTIF && prox_horiz_open == PROXY_AKTIF) {
    				CurrentState = STATE_VERT_EJECT;
    				stop_all_actuators();
    				Send_VCP_Message("Pembuangan Terbuka. Menunggu silinder vertikal turun mendorong material keluar.");
    				state_timer_start = HAL_GetTick();
    			}
    			break;

            // 6. Mengeluarkan material/ piston maju hingga proxy eject terdeteksi
            case STATE_VERT_EJECT:
            	if (!auto_cycle_active) break;

            	            vertikal_turun();

            	            // Konversi 50 Bar ke nilai ADC
            	            uint16_t eject_50bar_adc = convert_bar_to_adc(50.0f);

            	            // Deteksi 50 Bar pertama kali
            	            if (current_pressure_adc >= eject_50bar_adc) {
            	                CurrentState = STATE_HORIZ_CLOSE;

            	                // JANGAN panggil stop_all_actuators() agar gerakan tidak terputus
            	                delay_after_naik_timer_start = HAL_GetTick();
            	                state_timer_start = HAL_GetTick();
            	                Send_VCP_Message("Eject 50 Bar terdeteksi. Mulai menutup pintu sambil mempertahankan 50 Bar.");
            	            }
            	            break;

            // Tarik piston ke atas hingga batas aman agar tidak menabrak pintu
            case STATE_UP_TO_PROX_VERT_MIDDLE:
    			if(!auto_cycle_active) break;
    				vertikal_naik();

    				if (prox_vert_homing == PROXY_INAKTIF && prox_vert_middle == PROXY_INAKTIF && prox_vert_eject == PROXY_AKTIF){
    					CurrentState =  STATE_HORIZ_CLOSE;
    					stop_all_actuators();
    					Send_VCP_Message("Naik batas aman selesai. Delay 1,5 detik sebelum menutup pembuangan");
    					delay_after_naik_timer_start = HAL_GetTick();
    					state_timer_start = HAL_GetTick();
    				}
    			break;

            // 7. Jika proxy eject sudah terdeteksi (dan aman), pintu pembuangan tertutup lagi
            case STATE_HORIZ_CLOSE:
            	if (!auto_cycle_active) break;

            	            uint16_t target_50bar_adc = convert_bar_to_adc(50.0f);

            	            // --- A. KONTROL PINTU HORIZONTAL ---
            	            // Setelah delay terpenuhi, nyalakan relay pintu maju (tanpa mematikan relay vertikal)
            	            if (HAL_GetTick() - delay_after_naik_timer_start >= delay_after_naik_ms) {
            	                HAL_GPIO_WritePin(RELAY_CLOSE_GPIO_Port, RELAY_CLOSE_Pin, ACTUATOR_ON);
            	            }

            	            // --- B. KONTROL TEKANAN PISTON VERTIKAL (MEMPERTAHANKAN 50 BAR) ---
            	            // Jika tekanan turun < 50 Bar, dorong lagi. Jika sudah >= 50 Bar, matikan sementara agar tidak over-pressure.
            	            if (current_pressure_adc < target_50bar_adc) {
            	                HAL_GPIO_WritePin(RELAY_DOWN_GPIO_Port, RELAY_DOWN_Pin, ACTUATOR_ON);
            	            } else {
            	                HAL_GPIO_WritePin(RELAY_DOWN_GPIO_Port, RELAY_DOWN_Pin, ACTUATOR_OFF);
            	            }

            	            // --- C. CEK KONDISI PINTU SUDAH TERTUTUP RAPAT ---
            	            if (prox_horiz_close == PROXY_AKTIF && prox_horiz_open == PROXY_INAKTIF) {
            	                CurrentState = STATE_HOMING;

            	                // Matikan semua aktuator HANYA saat pintu sudah benar-benar tertutup rapat
            	                stop_all_actuators();

            	                Send_VCP_Message("Pembuangan berhasil ditutup rapat. Mengulang ke Homing.");
            	                state_timer_start = HAL_GetTick();
            	            }
            	            break;
        }

}

HAL_StatusTypeDef Flash_Save_All_Parameters(void)
{
    HAL_StatusTypeDef status = HAL_ERROR;
    FLASH_EraseInitTypeDef EraseInitStruct;
    uint32_t PageError = 0;

    // 16-bit versions of the 32-bit parameters
    uint16_t delay_halfword = (uint16_t)material_in_delay_ms;
    uint16_t vert_up_halfword = (uint16_t)vert_up_duration_ms;
    uint16_t press_timer_halfword = (uint16_t)press_by_timer_duration_ms;
    uint16_t timeout_halfword = (uint16_t)global_timeout_duration_ms;
    uint16_t target_bar_halfword = (uint16_t)target_pressure_bar;

    // 1. Unlock Flash
    HAL_FLASH_Unlock();

    // 2. Setup Erase Operation
    EraseInitStruct.TypeErase = FLASH_TYPEERASE_PAGES;
    EraseInitStruct.PageAddress = FLASH_ADDRESS_DELAY; // Target Page
    EraseInitStruct.NbPages = 1;

    // 3. Erase Page
    if (HAL_FLASHEx_Erase(&EraseInitStruct, &PageError) != HAL_OK)
    {
        HAL_FLASH_Lock();
        return HAL_ERROR;
    }

    // 4. Program Data 1 (material_in_delay_ms)
    status = HAL_FLASH_Program(FLASH_TYPEPROGRAM_HALFWORD, FLASH_ADDRESS_DELAY, delay_halfword);
    if (status != HAL_OK) { HAL_FLASH_Lock(); return status; }

    // 5. Program Data 2 (vert_up_duration_ms)
    status = HAL_FLASH_Program(FLASH_TYPEPROGRAM_HALFWORD, FLASH_ADDRESS_VERT_UP, vert_up_halfword);
    if (status != HAL_OK) { HAL_FLASH_Lock(); return status; }

    // 6. Program Data 3 (press_by_timer_duration_ms)
	status = HAL_FLASH_Program(FLASH_TYPEPROGRAM_HALFWORD, FLASH_ADDRESS_PRESS_TIMER, press_timer_halfword);
	if (status != HAL_OK) { HAL_FLASH_Lock(); return status; }

	// 7. Program Data 4 (global_timeout_duration_ms)
	status = HAL_FLASH_Program(FLASH_TYPEPROGRAM_HALFWORD, FLASH_ADDRESS_TIMEOUT, timeout_halfword);
	if (status != HAL_OK) { HAL_FLASH_Lock(); return status; }

	// 8. Program Data 5 (target_pressure_bar)
	status = HAL_FLASH_Program(FLASH_TYPEPROGRAM_HALFWORD, FLASH_ADDRESS_TARGET_BAR, target_bar_halfword);

	// 9. Lock Flash
	HAL_FLASH_Lock();

    return status;
}
/* USER CODE END 4 */

void Error_Handler(void)
{
  __disable_irq();
  while (1)
  {
  }
}
